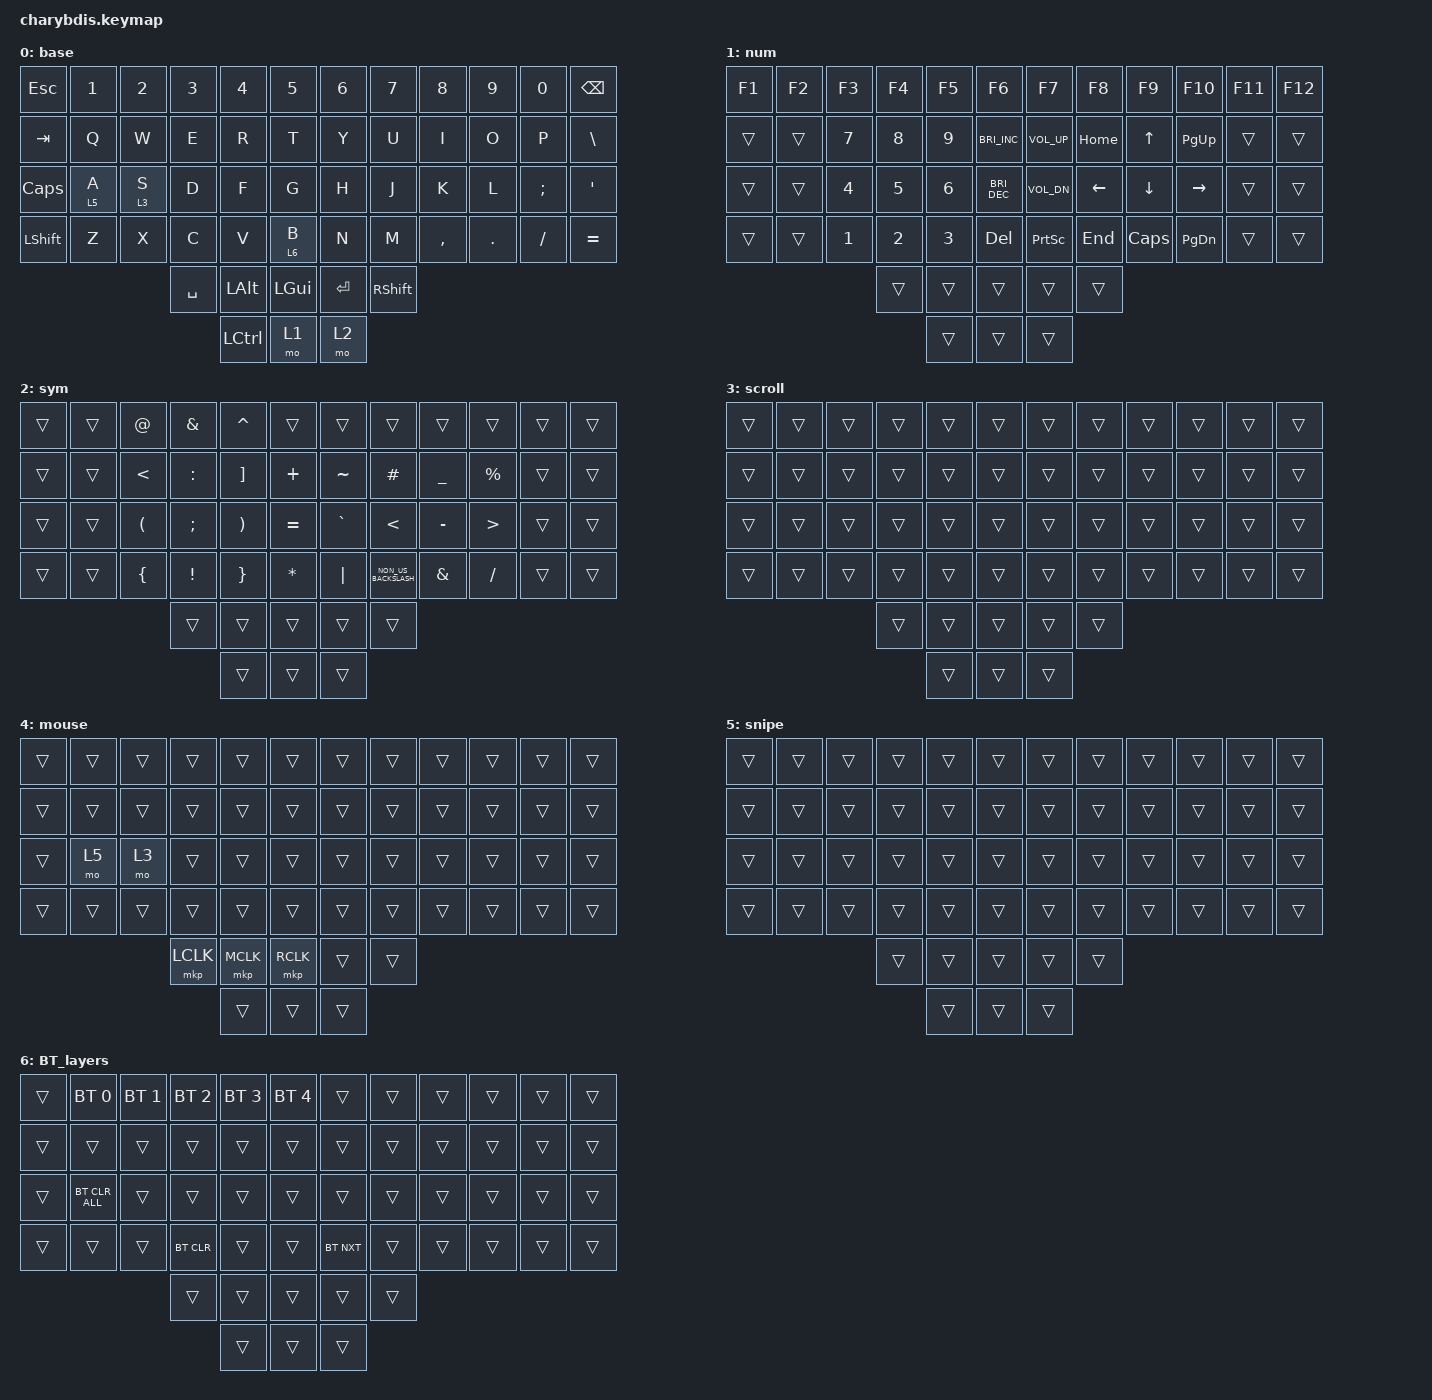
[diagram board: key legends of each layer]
#include <behaviors.dtsi>
#include <dt-bindings/zmk/bt.h>
#include <dt-bindings/zmk/keys.h>
#include <dt-bindings/zmk/pointing.h>

&lt {
    tapping-term-ms = <200>;
    flavor = "balanced";
    quick-tap-ms = <150>;
};

/ {
    combos {
        compatible = "zmk,combos";

        middle_click {
            bindings = <&mkp MB3>;
            key-positions = <28 27 26>;
        };

        right_click {
            bindings = <&mkp MB2>;
            key-positions = <28 27>;
        };

        left_click {
            bindings = <&mkp MB1>;
            key-positions = <26 25>;
        };
    };

    behaviors {
        scr_beh: scr_beh {
            compatible = "zmk,behavior-hold-tap";
            label = "SCR_BEH";
            bindings = <&mo>, <&kp>;

            #binding-cells = <2>;
            tapping-term-ms = <150>;
            hold-while-undecided;
        };
    };

    keymap {
        compatible = "zmk,keymap";

        base {
            bindings = <
&kp ESCAPE      &kp N1        &kp N2        &kp N3     &kp N4            &kp N5          &kp N6     &kp N7           &kp N8     &kp N9   &kp N0    &kp BACKSPACE
&kp TAB         &kp Q         &kp W         &kp E      &kp R             &kp T           &kp Y      &kp U            &kp I      &kp O    &kp P     &kp BSLH
&kp CAPS        &scr_beh 5 A  &scr_beh 3 S  &kp D      &kp F             &kp G           &kp H      &kp J            &kp K      &kp L    &kp SEMI  &kp SQT
&kp LEFT_SHIFT  &kp Z         &kp X         &kp C      &kp V             &lt 6 B         &kp N      &kp M            &kp COMMA  &kp DOT  &kp FSLH  &kp EQUAL
                                            &kp SPACE  &kp LEFT_ALT      &kp LEFT_GUI    &kp ENTER  &kp RIGHT_SHIFT
                                                       &kp LEFT_CONTROL  &mo 1           &mo 2
            >;
        };

        num {
            bindings = <
&kp F1  &kp F2  &kp F3        &kp F4        &kp F5        &kp F6           &kp F7           &kp F8          &kp F9          &kp F10          &kp F11  &kp F12
&trans  &trans  &kp N7        &kp N8        &kp N9        &kp C_BRI_INC    &kp C_VOLUME_UP  &kp HOME        &kp UP_ARROW    &kp PG_UP        &trans   &trans
&trans  &trans  &kp NUMBER_4  &kp N5        &kp NUMBER_6  &kp C_BRI_DEC    &kp C_VOL_DN     &kp LEFT_ARROW  &kp DOWN_ARROW  &kp RIGHT_ARROW  &trans   &trans
&trans  &trans  &kp NUMBER_1  &kp NUMBER_2  &kp NUMBER_3  &kp DELETE       &kp PRINTSCREEN  &kp END         &kp CAPS        &kp PAGE_DOWN    &trans   &trans
                              &trans        &trans        &trans           &trans           &trans
                                            &trans        &trans           &trans
            >;
        };

        sym {
            bindings = <
&trans  &trans  &kp AT_SIGN           &kp AMPERSAND    &kp CARET              &trans          &trans     &trans                &trans          &trans            &trans  &trans
&trans  &trans  &kp LESS_THAN         &kp COLON        &kp RIGHT_BRACKET      &kp PLUS        &kp TILDE  &kp HASH              &kp UNDERSCORE  &kp PERCENT       &trans  &trans
&trans  &trans  &kp LEFT_PARENTHESIS  &kp SEMICOLON    &kp RIGHT_PARENTHESIS  &kp EQUAL       &kp GRAVE  &kp LESS_THAN         &kp MINUS       &kp GREATER_THAN  &trans  &trans
&trans  &trans  &kp LEFT_BRACE        &kp EXCLAMATION  &kp RIGHT_BRACE        &kp ASTERISK    &kp PIPE   &kp NON_US_BACKSLASH  &kp AMPERSAND   &kp SLASH         &trans  &trans
                                      &trans           &trans                 &trans          &trans     &trans
                                                       &trans                 &trans          &trans
            >;
        };

        scroll {
            bindings = <
&trans  &trans  &trans  &trans  &trans  &trans    &trans  &trans  &trans  &trans  &trans  &trans
&trans  &trans  &trans  &trans  &trans  &trans    &trans  &trans  &trans  &trans  &trans  &trans
&trans  &trans  &trans  &trans  &trans  &trans    &trans  &trans  &trans  &trans  &trans  &trans
&trans  &trans  &trans  &trans  &trans  &trans    &trans  &trans  &trans  &trans  &trans  &trans
                        &trans  &trans  &trans    &trans  &trans
                                &trans  &trans    &trans
            >;
        };

        mouse {
            bindings = <
&trans  &trans  &trans  &trans     &trans     &trans       &trans  &trans  &trans  &trans  &trans  &trans
&trans  &trans  &trans  &trans     &trans     &trans       &trans  &trans  &trans  &trans  &trans  &trans
&trans  &mo 5   &mo 3   &trans     &trans     &trans       &trans  &trans  &trans  &trans  &trans  &trans
&trans  &trans  &trans  &trans     &trans     &trans       &trans  &trans  &trans  &trans  &trans  &trans
                        &mkp LCLK  &mkp MCLK  &mkp RCLK    &trans  &trans
                                   &trans     &trans       &trans
            >;
        };

        snipe {
            bindings = <
&trans  &trans  &trans  &trans  &trans  &trans    &trans  &trans  &trans  &trans  &trans  &trans
&trans  &trans  &trans  &trans  &trans  &trans    &trans  &trans  &trans  &trans  &trans  &trans
&trans  &trans  &trans  &trans  &trans  &trans    &trans  &trans  &trans  &trans  &trans  &trans
&trans  &trans  &trans  &trans  &trans  &trans    &trans  &trans  &trans  &trans  &trans  &trans
                        &trans  &trans  &trans    &trans  &trans
                                &trans  &trans    &trans
            >;
        };

        BT_layers {
            bindings = <
&trans  &bt BT_SEL 0    &bt BT_SEL 1  &bt BT_SEL 2  &bt BT_SEL 3  &bt BT_SEL 4    &trans      &trans  &trans  &trans  &trans  &trans
&trans  &trans          &trans        &trans        &trans        &trans          &trans      &trans  &trans  &trans  &trans  &trans
&trans  &bt BT_CLR_ALL  &trans        &trans        &trans        &trans          &trans      &trans  &trans  &trans  &trans  &trans
&trans  &trans          &trans        &bt BT_CLR    &trans        &trans          &bt BT_NXT  &trans  &trans  &trans  &trans  &trans
                                      &trans        &trans        &trans          &trans      &trans
                                                    &trans        &trans          &trans
            >;
        };
    };
};
